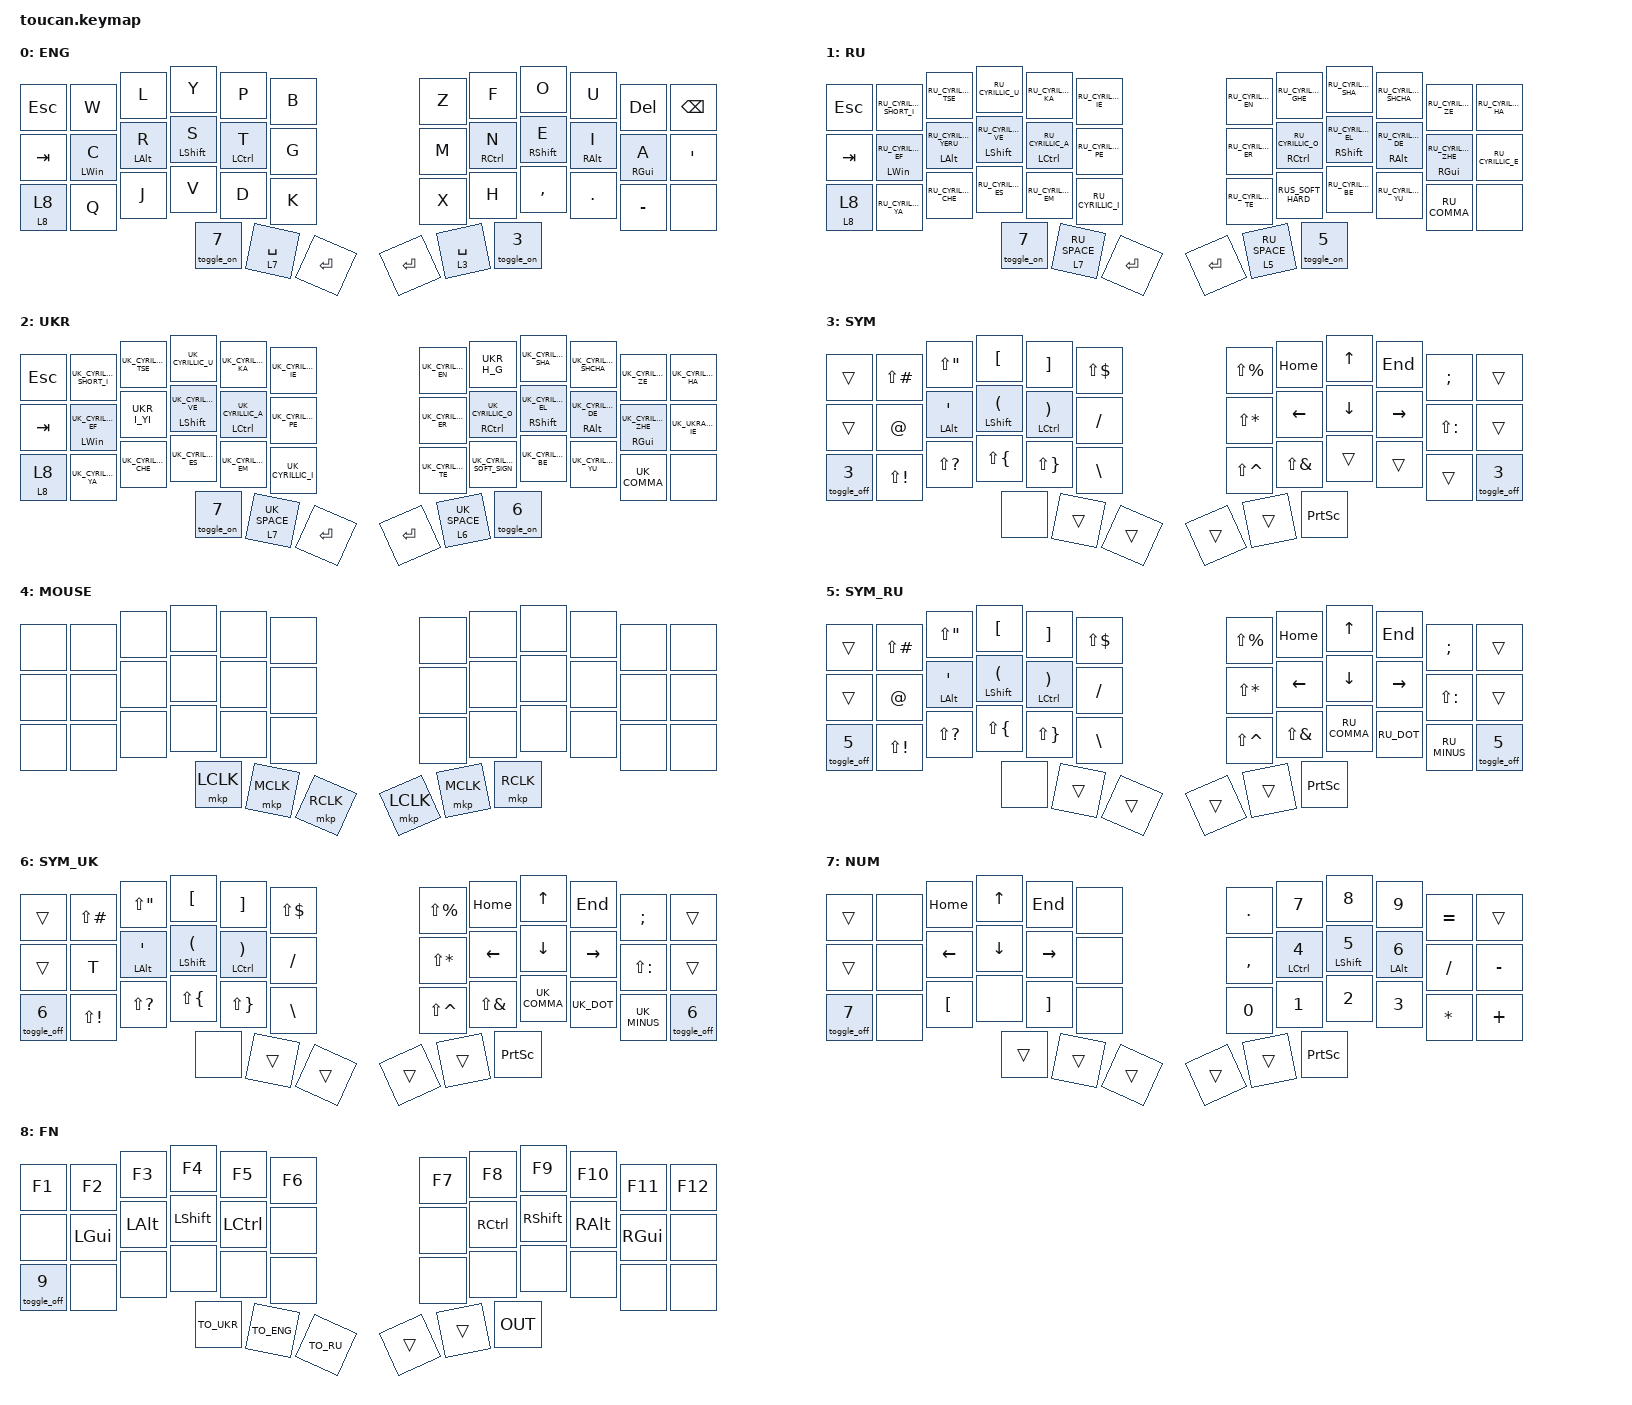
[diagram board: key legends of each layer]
#include <behaviors.dtsi>
#include <dt-bindings/zmk/keys.h>
#include <dt-bindings/zmk/bt.h>
#include <dt-bindings/zmk/outputs.h>
#include <dt-bindings/zmk/pointing.h>
#include "keys_ru.h"
#include "keys_uk.h"

#define ENG 0
#define RU 1
#define UKR 2
#define SYM 3
#define MOUSE 4
#define SYM_RU 5
#define SYM_UK 6
#define NUM 7
#define FN 8 
 
/ {
    conditional_layers { compatible = "zmk,conditional-layers"; };

    macros {
        TO_ENG: TO_ENG {
            compatible = "zmk,behavior-macro";
            #binding-cells = <0>;
            bindings =
                <&kp LC(LS(NUMBER_1))>,
                <&to 0>;

            label = "TO_ENG";
        };

        TO_RU: TO_RU {
            compatible = "zmk,behavior-macro";
            #binding-cells = <0>;
            bindings =
                <&kp LC(LS(NUMBER_2))>,
                <&to 1>;

            label = "TO_RU";
        };

        TO_UKR: TO_UKR {
            compatible = "zmk,behavior-macro";
            #binding-cells = <0>;
            bindings =
                <&kp LC(LS(NUMBER_0))>,
                <&to 2>;

            label = "TO_UKR";
        };

        PASS: PASS {
            compatible = "zmk,behavior-macro";
            #binding-cells = <0>;
            bindings = <&kp LC(LA(Z))>;

            label = "PASS";
        };

        CLIPBOARD: clipboard {
            compatible = "zmk,behavior-macro";
            #binding-cells = <0>;
            bindings = <&kp LG(V)>;

            label = "CLIPBOARD";
        };

        COPY_: COPY_ {
            compatible = "zmk,behavior-macro";
            #binding-cells = <0>;
            bindings = <&kp LC(C)>;
            label = "COPY_";
        };

        PASTE: PASTE {
            compatible = "zmk,behavior-macro";
            #binding-cells = <0>;
            bindings = <&kp LC(V)>;
            label = "PASTE";
        };

        CUT_: CUT_ {
            compatible = "zmk,behavior-macro";
            #binding-cells = <0>;
            bindings = <&kp LC(X)>;
            label = "CUT_";
        };

        SELECT_ALL: SELECT_ALL {
            compatible = "zmk,behavior-macro";
            #binding-cells = <0>;
            bindings = <&kp LC(A)>;
            label = "SELECT_ALL";
        };

        SAVE: SAVE {
            compatible = "zmk,behavior-macro";
            #binding-cells = <0>;
            bindings = <&kp LC(S)>;
            label = "SAVE";
        };

        UNDO_: UNDO_ {
            compatible = "zmk,behavior-macro";
            #binding-cells = <0>;
            bindings = <&kp LC(Z)>;
            label = "UNDO_";
        };

        REDO: REDO {
            compatible = "zmk,behavior-macro";
            #binding-cells = <0>;
            bindings = <&kp LC(Y)>;
            label = "REDO";
        };

        FIND: FIND {
            compatible = "zmk,behavior-macro";
            #binding-cells = <0>;
            bindings = <&kp LC(F)>;
            label = "FIND";
        };
    };

    behaviors {

        mt: mod_tap {
                compatible = "zmk,behavior-hold-tap";
                #binding-cells = <2>;
                flavor = "balanced";
                tapping-term-ms = <230>;
                bindings = <&kp>, <&kp>;
                display-name = "Mod-Tap";
            };

        UKR_I_YI: UKR_I_YI {
            compatible = "zmk,behavior-tap-dance";
            label = "UKR_I_YI";
            #binding-cells = <0>;
            bindings =
                <&mt LA(UK_UKRAINIAN_I) UK_UKRAINIAN_I>,
                <&kp UK_CYRILLIC_YI>;
        };

        UKR_H_G: UKR_H_G {
            compatible = "zmk,behavior-tap-dance";
            label = "UKR_H_G";
            #binding-cells = <0>;
            bindings = <&kp UK_CYRILLIC_GHE>, <&kp UK_CYRILLIC_GHE_UPTURN>;
        };

        RUS_SOFT_HARD: RUS_SOFT_HARD {
            compatible = "zmk,behavior-tap-dance";
            label = "RUS_SOFT_HARD";
            #binding-cells = <0>;
            bindings = <&kp RU_CYRILLIC_SOFT_SIGN>, <&kp RU_CYRILLIC_HARD_SIGN>;
        };

        toggle_on: toggle_on {
            compatible = "zmk,behavior-toggle-layer";
            label = "TOGGLE_ON";
            #binding-cells = <1>;
        };

        to_fn: to_fn {
            compatible = "zmk,behavior-hold-tap";
            label = "TO_FN";
            bindings = <&mo>, <&sl>;

            #binding-cells = <2>;
            tapping-term-ms = <200>;
        };

        toggle_off: toggle_off {
            compatible = "zmk,behavior-toggle-layer";
            label = "TOGGLE_OFF";
            #binding-cells = <1>;
            toggle-mode = "off";
        };
    };

    combos {
        compatible = "zmk,combos";

        combo_cyrillic_bspc {
            bindings = <&kp BSPC>;
            key-positions = <10 11>;
            layers = <1 2>;
        };

        combo_caps {
            bindings = <&caps_word>;
            key-positions = <15 20>;
            layers = <0 2 1>;
        };

        combo_password {
            bindings = <&PASS>;
            key-positions = <3 2>;
        };

        combo_clipboard {
            bindings = <&CLIPBOARD>;
            key-positions = <1 2>;
        };

        combo_pipe {
            bindings = <&kp PIPE>;
            key-positions = <29 17>;
            layers = <3>;
        };

        combo_copy {
            bindings = <&COPY_>;
            key-positions = <16 15>;
            layers = <0 2 1>;
        };

        combo_paste {
            bindings = <&PASTE>;
            key-positions = <16 27>;
            layers = <0 2 1>;
        };

        combo_cut {
            bindings = <&CUT_>;
            key-positions = <16 14>;
            layers = <0 1 2>;
        };

        combo_select_all {
            bindings = <&SELECT_ALL>;
            key-positions = <16 13>;
            layers = <0 2 1>;
        };

        combo_save {
            bindings = <&SAVE>;
            key-positions = <16 3>;
            layers = <0 1 2>;
        };

        combo_find {
            bindings = <&FIND>;
            key-positions = <16 2>;
            layers = <0 1 2>;
        };

        combo_undo {
            bindings = <&UNDO_>;
            key-positions = <16 25>;
            layers = <0 1 2>;
        };

        combo_redo {
            bindings = <&REDO>;
            key-positions = <16 5>;
            layers = <0 1 2>;
        };
    };

    keymap {
        compatible = "zmk,keymap";

        eng {
            display-name = "ENG";
            bindings = <
&kp ESC  &kp W  &kp L  &kp Y  &kp P  &kp B  &kp Z  &kp F  &kp O  &kp U  &kp DEL  &kp BSPC  &kp TAB  &mt LWIN C  &mt LALT R  &mt LSHFT S  &mt LCTRL T  &kp G  &kp M  &mt RCTRL N  &mt RSHFT E  &mt RALT I  &mt RGUI A  &kp SQT  &to_fn 8 8  &kp Q  &kp J  &kp V  &kp D  &kp K  &kp X  &kp H  &kp COMMA  &kp DOT  &kp MINUS  &none  &toggle_on 7  &lt 7 SPACE  &kp ENTER  &kp ENTER  &lt 3 SPACE  &toggle_on 3
            >;
        };

        ru {
         display-name = "RU";
            bindings = <
&kp ESC  &kp RU_CYRILLIC_SHORT_I  &kp RU_CYRILLIC_TSE  &kp RU_CYRILLIC_U  &kp RU_CYRILLIC_KA  &kp RU_CYRILLIC_IE  &kp RU_CYRILLIC_EN  &kp RU_CYRILLIC_GHE  &kp RU_CYRILLIC_SHA  &kp RU_CYRILLIC_SHCHA  &kp RU_CYRILLIC_ZE  &kp RU_CYRILLIC_HA  &kp TAB  &mt LWIN RU_CYRILLIC_EF  &mt LALT RU_CYRILLIC_YERU  &mt LSHFT RU_CYRILLIC_VE  &mt LCTRL RU_CYRILLIC_A  &kp RU_CYRILLIC_PE  &kp RU_CYRILLIC_ER  &mt RCTRL RU_CYRILLIC_O  &mt RSHFT RU_CYRILLIC_EL  &mt RALT RU_CYRILLIC_DE  &mt RGUI RU_CYRILLIC_ZHE  &kp RU_CYRILLIC_E  &to_fn 8 8  &kp RU_CYRILLIC_YA  &kp RU_CYRILLIC_CHE  &kp RU_CYRILLIC_ES  &kp RU_CYRILLIC_EM  &kp RU_CYRILLIC_I  &kp RU_CYRILLIC_TE  &RUS_SOFT_HARD  &kp RU_CYRILLIC_BE  &kp RU_CYRILLIC_YU  &kp RU_COMMA  &none  &toggle_on 7  &lt 7 RU_SPACE  &kp ENTER  &kp ENTER  &lt 5 RU_SPACE  &toggle_on 5
            >;
        };

    ukr {
        display-name = "UKR";
            bindings = <
&kp ESC  &kp UK_CYRILLIC_SHORT_I  &kp UK_CYRILLIC_TSE  &kp UK_CYRILLIC_U  &kp UK_CYRILLIC_KA  &kp UK_CYRILLIC_IE  &kp UK_CYRILLIC_EN  &UKR_H_G  &kp UK_CYRILLIC_SHA  &kp UK_CYRILLIC_SHCHA  &kp UK_CYRILLIC_ZE  &kp UK_CYRILLIC_HA  &kp TAB  &mt LWIN UK_CYRILLIC_EF  &UKR_I_YI  &mt LSHFT UK_CYRILLIC_VE  &mt LCTRL UK_CYRILLIC_A  &kp UK_CYRILLIC_PE  &kp UK_CYRILLIC_ER  &mt RCTRL UK_CYRILLIC_O  &mt RSHFT UK_CYRILLIC_EL  &mt RALT UK_CYRILLIC_DE  &mt RGUI UK_CYRILLIC_ZHE  &kp UK_UKRAINIAN_IE  &to_fn 8 8  &kp UK_CYRILLIC_YA  &kp UK_CYRILLIC_CHE  &kp UK_CYRILLIC_ES  &kp UK_CYRILLIC_EM  &kp UK_CYRILLIC_I  &kp UK_CYRILLIC_TE  &kp UK_CYRILLIC_SOFT_SIGN  &kp UK_CYRILLIC_BE  &kp UK_CYRILLIC_YU  &kp UK_COMMA  &none  &toggle_on 7  &lt 7 UK_SPACE  &kp ENTER  &kp ENTER  &lt 6 UK_SPACE  &toggle_on 6
            >;
        };

        sym {
        display-name = "SYM";
            bindings = <
&trans  &kp LS(POUND)  &kp LS(DQT)  &kp LBKT  &kp RBKT  &kp LS(DLLR)  &kp LS(PRCNT)  &kp HOME  &kp UP  &kp END  &kp SEMI  &trans  &trans  &kp AT  &mt LALT SQT  &mt LSHFT LEFT_PARENTHESIS  &mt LCTRL RIGHT_PARENTHESIS  &kp FSLH  &kp LS(STAR)  &kp LEFT  &kp DOWN  &kp RIGHT  &kp LS(COLON)  &trans  &toggle_off 3  &kp LS(EXCL)  &kp LS(QMARK)  &kp LS(LBRC)  &kp LS(RBRC)  &kp BSLH  &kp LS(CARET)  &kp LS(AMPS)  &trans  &trans  &trans  &toggle_off 3  &none  &trans  &trans  &trans  &trans  &kp PRINTSCREEN
            >;
        };

        MOUSE {
        display-name = "MOUSE";
            bindings = <
&none  &none  &none  &none  &none  &none  &none  &none  &none  &none  &none  &none  &none  &none  &none  &none  &none  &none  &none  &none  &none  &none  &none  &none  &none  &none  &none  &none  &none  &none  &none  &none  &none  &none  &none  &none  &mkp LCLK  &mkp MCLK  &mkp RCLK  &mkp LCLK  &mkp MCLK  &mkp RCLK
            >;
        };

        sym_ru {
        display-name = "SYM_RU";
            bindings = <
&trans  &kp LS(POUND)  &kp LS(DQT)  &kp LBKT  &kp RBKT  &kp LS(DLLR)  &kp LS(PRCNT)  &kp HOME  &kp UP  &kp END  &kp SEMI  &trans  &trans  &kp AT  &mt LALT SQT  &mt LSHFT LEFT_PARENTHESIS  &mt LCTRL RIGHT_PARENTHESIS  &kp FSLH  &kp LS(STAR)  &kp LEFT  &kp DOWN  &kp RIGHT  &kp LS(COLON)  &trans  &toggle_off 5  &kp LS(EXCL)  &kp LS(QMARK)  &kp LS(LBRC)  &kp LS(RBRC)  &kp BSLH  &kp LS(CARET)  &kp LS(AMPS)  &kp RU_COMMA  &kp RU_DOT  &kp RU_MINUS  &toggle_off 5  &none  &trans  &trans  &trans  &trans  &kp PRINTSCREEN
            >;
        };

        sym_uk {
        display-name = "SYM_UK";
            bindings = <
&trans  &kp LS(POUND)  &kp LS(DQT)  &kp LBKT  &kp RBKT  &kp LS(DLLR)  &kp LS(PRCNT)  &kp HOME  &kp UP  &kp END  &kp SEMI  &trans  &trans  &kp T  &mt LALT SQT  &mt LSHFT LEFT_PARENTHESIS  &mt LCTRL RIGHT_PARENTHESIS  &kp FSLH  &kp LS(STAR)  &kp LEFT  &kp DOWN  &kp RIGHT  &kp LS(COLON)  &trans  &toggle_off 6  &kp LS(EXCL)  &kp LS(QMARK)  &kp LS(LBRC)  &kp LS(RBRC)  &kp BSLH  &kp LS(CARET)  &kp LS(AMPS)  &kp UK_COMMA  &kp UK_DOT  &kp UK_MINUS  &toggle_off 6  &none  &trans  &trans  &trans  &trans  &kp PRINTSCREEN
            >;
        };

        num {
        display-name = "NUM";
            bindings = <
&trans  &none  &kp HOME  &kp UP  &kp END  &none  &kp DOT  &kp N7  &kp N8  &kp N9  &kp EQUAL  &trans  &trans  &none  &kp LEFT  &kp DOWN  &kp RIGHT  &none  &kp COMMA  &mt LCTRL N4  &mt LSHFT NUMBER_5  &mt LALT NUMBER_6  &kp FSLH  &kp MINUS  &toggle_off 7  &none  &kp LBKT  &none  &kp RBKT  &none  &kp N0  &kp N1  &kp N2  &kp N3  &kp STAR  &kp PLUS  &trans  &trans  &trans  &trans  &trans  &kp PRINTSCREEN
            >;
        };

        fn {
        display-name = "FN";
            bindings = <
&kp F1  &kp F2  &kp F3  &kp F4  &kp F5  &kp F6  &kp F7  &kp F8  &kp F9  &kp F10  &kp F11  &kp F12  &none  &kp LGUI  &kp LALT  &kp LSHFT  &kp LCTRL  &none  &none  &kp RCTRL  &kp RSHFT  &kp RALT  &kp RGUI  &none  &toggle_off 9  &none  &none  &none  &none  &none  &none  &none  &none  &none  &none  &none  &TO_UKR  &TO_ENG  &TO_RU  &trans  &trans  &kp OUT
            >;
        };
    };
};
 
